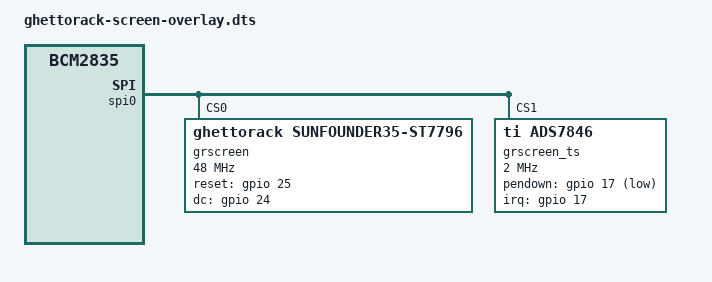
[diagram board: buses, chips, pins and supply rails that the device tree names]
/*
 * GhettoRack: the SunFounder 3.5" IPS touch screen (ST7796U behind a 16-bit
 * shift register, XPT2046 touch) on a Raspberry Pi's header.
 * After the Raspberry Pi kernel's piscreen overlay: same pins.
 *   picture: SPI0 CE0, DC = GPIO 24 (pin 18), RST = GPIO 25 (pin 22)
 *   touch:   SPI0 CE1, IRQ = GPIO 17 (pin 11)
 * Needs the st7796sr module (pi4/screen/install.sh builds it).
 */

/dts-v1/;
/plugin/;

/ {
	compatible = "brcm,bcm2835";

	fragment@0 {
		target = <&spi0>;
		__overlay__ {
			status = "okay";
		};
	};

	fragment@1 {
		target = <&spidev0>;
		__overlay__ {
			status = "disabled";
		};
	};

	fragment@2 {
		target = <&spidev1>;
		__overlay__ {
			status = "disabled";
		};
	};

	fragment@3 {
		target = <&gpio>;
		__overlay__ {
			grscreen_pins: grscreen_pins {
				brcm,pins = <17 25 24>;
				brcm,function = <0 1 1>; /* in out out */
			};
		};
	};

	fragment@4 {
		target = <&spi0>;
		__overlay__ {
			#address-cells = <1>;
			#size-cells = <0>;

			grscreen: grscreen@0 {
				compatible = "ghettorack,sunfounder35-st7796";
				reg = <0>;
				pinctrl-names = "default";
				pinctrl-0 = <&grscreen_pins>;

				/* clean and about 30 frames a second on the Pi 4 rig; 16 MHz carried 8 */
				spi-max-frequency = <48000000>;
				rotation = <0>;
				/* the level on the wire, as the kernel's piscreen overlay
				   gives it to this kind of driver */
				reset-gpios = <&gpio 25 0>;
				dc-gpios = <&gpio 24 0>;
			};

			grscreen_ts: grscreen-ts@1 {
				compatible = "ti,ads7846";
				reg = <1>;

				spi-max-frequency = <2000000>;
				interrupts = <17 2>; /* high-to-low edge */
				interrupt-parent = <&gpio>;
				pendown-gpio = <&gpio 17 1>;
				touchscreen-swapped-x-y;
				ti,x-plate-ohms = /bits/ 16 <100>;
				ti,pressure-max = /bits/ 16 <255>;
			};
		};
	};

	__overrides__ {
		speed =		<&grscreen>,"spi-max-frequency:0";
		rotate =	<&grscreen>,"rotation:0";
		xohms =		<&grscreen_ts>,"ti,x-plate-ohms;0";
		invx =		<&grscreen_ts>,"touchscreen-inverted-x?";
		invy =		<&grscreen_ts>,"touchscreen-inverted-y?";
		swapxy =	<&grscreen_ts>,"touchscreen-swapped-x-y!";
	};
};
